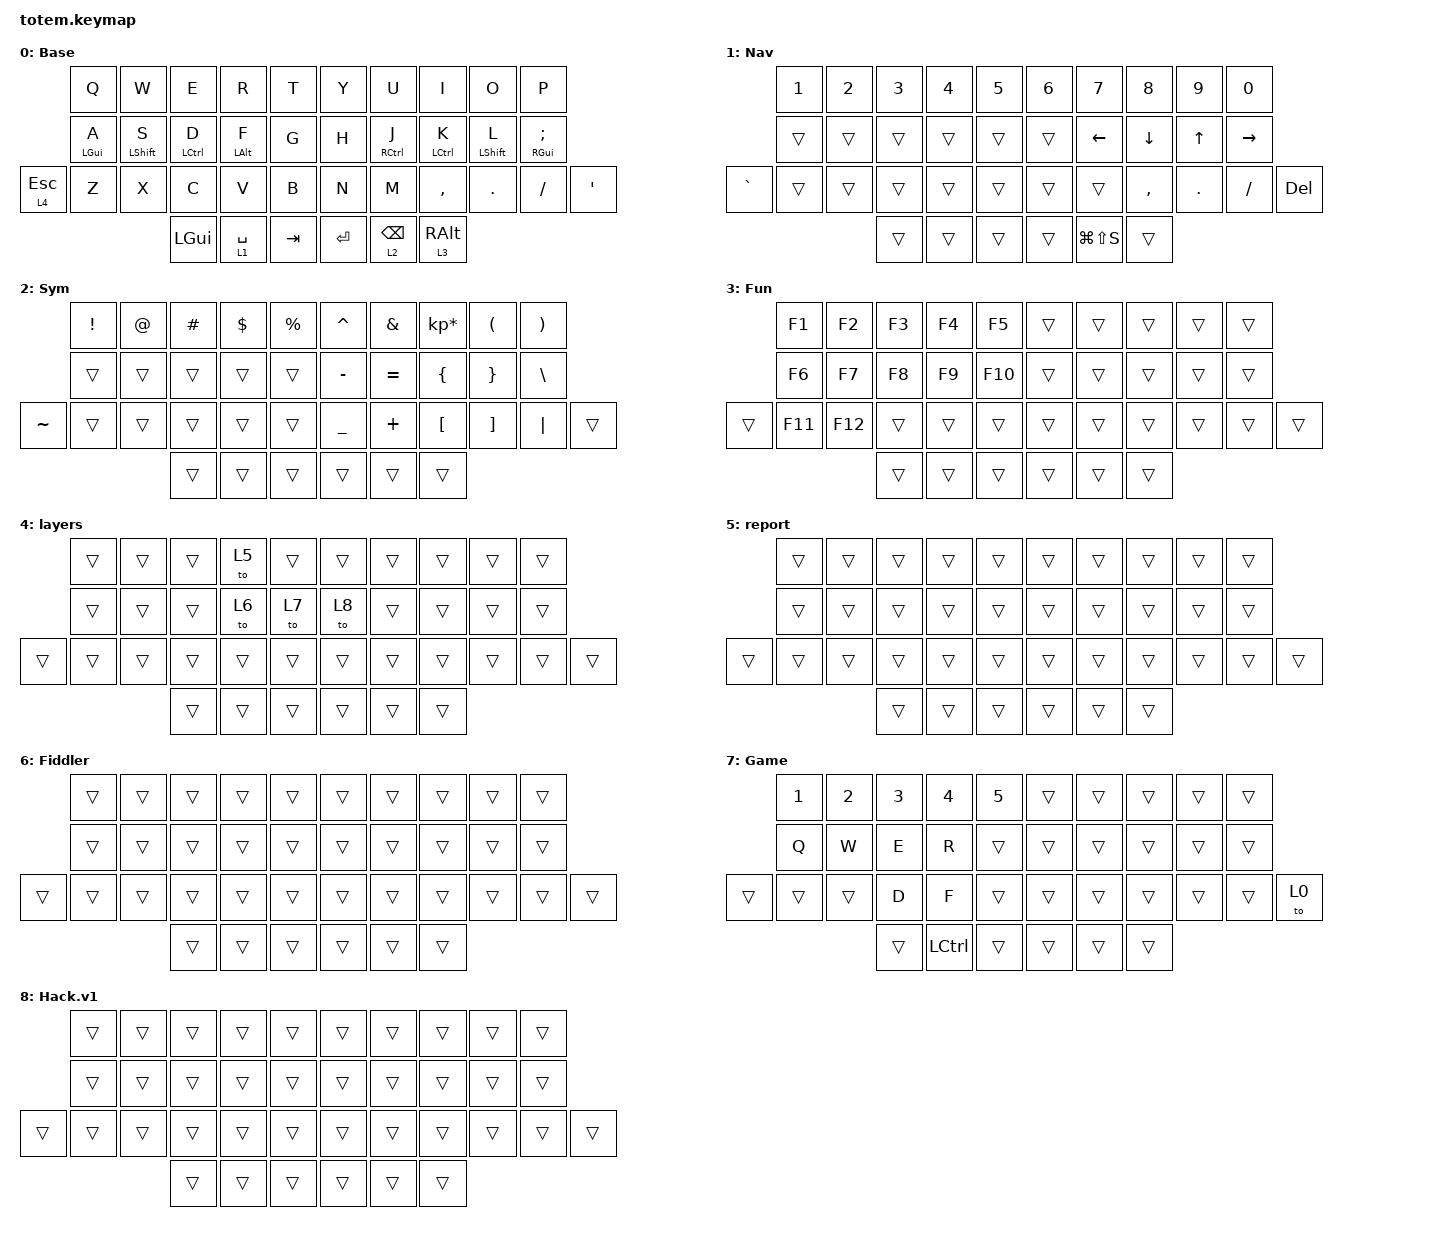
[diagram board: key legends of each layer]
//
//                                                        ▀▀▀▀▀     ▀▀▀▀▀          ▀▀█▀▀
//                                                        ▄▀▀▀▄  ▄  ▄▀▀▀▄  ▄  ▄▀▀▀▄  █  ▄▀▀▀▄
//                                                        █   █  █  █   █  █  █   █  █  █   █
//                                                         ▀▀▀   █   ▀▀▀   █   ▀▀▀   ▀   ▀▀▀
//                                                               █      ▄▄▄█▄▄▄    █   █  
//                                                               ▀      █  █  █     █▄█
//                                                             ▀▀▀▀▀    █  █  █      ▀
//                                                                      ▀  ▀  ▀
//
// ▄▄▄▄▄▄▄▄▄▄▄▄▄▄▄▄▄▄▄▄▄▄▄▄▄▄▄▄▄▄▄▄▄▄▄▄▄▄▄▄▄▄▄▄▄▄▄▄▄▄▄▄▄▄▄▄▄▄▄▄▄▄▄▄▄▄▄▄▄▄▄▄▄▄▄▄▄▄▄▄▄▄▄▄▄▄▄▄▄▄▄▄▄▄▄▄▄▄▄▄▄▄▄▄▄▄▄▄▄▄▄▄▄▄▄▄▄▄▄▄▄▄▄▄▄▄▄▄▄▄▄▄▄▄▄▄▄▄▄▄▄▄▄▄▄▄▄▄▄

#include <behaviors.dtsi>
#include <dt-bindings/zmk/keys.h>

#define Base        0
#define Nav         1
#define Sym         2
#define Fun         3
#define Game        4
#define Gameplus    5

&mt {
    quick-tap-ms = <100>;
    global-quick-tap;
    flavor = "tap-preferred";
    tapping-term-ms = <170>;
};

&lt {
    tapping-term-ms = <240>;
    flavor = "balanced";
    quick-tap-ms = <150>;
};

/ {
    behaviors {
        hm: homerow_mods {
            compatible = "zmk,behavior-hold-tap";
            label = "HOMEROW_MODS";
            #binding-cells = <2>;
            flavor = "tap-preferred";
            tapping-term-ms = <270>;
            quick-tap-ms = <150>;
            global-quick-tap;
            bindings = <&kp>, <&kp>;
        };

        hm_c: homerow_ctrl {
            compatible = "zmk,behavior-hold-tap";
            label = "HM_C";
            #binding-cells = <2>;
            flavor = "tap-preferred";
            tapping-term-ms = <165>;
            quick-tap-ms = <100>;
            bindings = <&kp>, <&kp>;
        };

        hm_s_l: homerow_shift_L {
            compatible = "zmk,behavior-hold-tap";
            label = "HM_S_L";
            #binding-cells = <2>;
            flavor = "tap-preferred";
            tapping-term-ms = <220>;
            quick-tap-ms = <150>;
            bindings = <&kp>, <&kp>;
        };

        hm_s_r: homerow_shift_r {
            compatible = "zmk,behavior-hold-tap";
            label = "HM_S_R";
            #binding-cells = <2>;
            flavor = "tap-preferred";
            tapping-term-ms = <140>;
            quick-tap-ms = <100>;
            bindings = <&kp>, <&kp>;
        };
    };

    combos {
        compatible = "zmk,combos";

        caps {
            bindings = <&kp CLCK>;
            key-positions = <7 8 9>;
            layers = <0>;
        };

        win_lock {
            bindings = <&kp LG(L)>;
            key-positions = <20 31>;
        };

        vwin_create {
            bindings = <&kp LG(LC(D))>;
            key-positions = <6 7 8>;
        };

        vwin_left {
            bindings = <&kp LG(LC(LEFT))>;
            key-positions = <17 16>;
        };

        vwin_right {
            bindings = <&kp LG(LC(RIGHT))>;
            key-positions = <17 18>;
        };

        vwin_del {
            bindings = <&kp LG(LC(F4))>;
            key-positions = <27 28 29>;
        };

        go_base {
            bindings = <&to 0>;
            key-positions = <11 12 13>;
        };
    };

    keymap {
        compatible = "zmk,keymap";

        Base {
            display-name = "Base";
            bindings = <
              &kp Q       &kp W            &kp E          &kp R           &kp T      &kp Y    &kp U        &kp I            &kp O            &kp P
              &hm LGUI A  &hm_s_l LSHFT S  &hm_c LCTRL D  &hm LEFT_ALT F  &kp G      &kp H    &hm RCTRL J  &hm_c LCTRL K    &hm_s_r LSHFT L  &hm RGUI SEMICOLON
&lt 4 ESCAPE  &kp Z       &kp X            &kp C          &kp V           &kp B      &kp N    &kp M        &kp COMMA        &kp DOT          &kp SLASH           &kp APOSTROPHE
                                           &kp LEFT_GUI   &lt 1 SPACE     &kp TAB    &kp RET  &lt 2 BSPC   &lt 3 RIGHT_ALT
            >;
        };

        Nav {
            display-name = "Nav";
            bindings = <
           &kp NUMBER_1  &kp NUMBER_2  &kp NUMBER_3  &kp NUMBER_4  &kp NUMBER_5    &kp NUMBER_6  &kp NUMBER_7   &kp NUMBER_8  &kp NUMBER_9  &kp NUMBER_0
           &trans        &trans        &trans        &trans        &trans          &trans        &kp LEFT       &kp DOWN      &kp UP        &kp RIGHT
&kp GRAVE  &trans        &trans        &trans        &trans        &trans          &trans        &trans         &kp COMMA     &kp DOT       &kp SLASH     &kp DELETE
                                       &trans        &trans        &trans          &trans        &kp LG(LS(S))  &trans
            >;
        };

        Sym {
            display-name = "Sym";
            bindings = <
           &kp EXCL  &kp AT  &kp HASH  &kp DOLLAR  &kp PERCENT    &kp CARET  &kp AMPERSAND  &kp KP_ASTERISK  &kp LPAR  &kp RPAR
           &trans    &trans  &trans    &trans      &trans         &kp MINUS  &kp EQUAL      &kp LBRC         &kp RBRC  &kp BSLH
&kp TILDE  &trans    &trans  &trans    &trans      &trans         &kp UNDER  &kp PLUS       &kp LBKT         &kp RBKT  &kp PIPE  &trans
                             &trans    &trans      &trans         &trans     &trans         &trans
            >;
        };

        Fun {
            display-name = "Fun";
            bindings = <
        &kp F1   &kp F2   &kp F3  &kp F4  &kp F5     &trans  &trans  &trans  &trans  &trans
        &kp F6   &kp F7   &kp F8  &kp F9  &kp F10    &trans  &trans  &trans  &trans  &trans
&trans  &kp F11  &kp F12  &trans  &trans  &trans     &trans  &trans  &trans  &trans  &trans  &trans
                          &trans  &trans  &trans     &trans  &trans  &trans
            >;
        };

        Layers {
            bindings = <
        &trans  &trans  &trans  &to 5   &trans    &trans  &trans  &trans  &trans  &trans
        &trans  &trans  &trans  &to 6   &to 7     &to 8   &trans  &trans  &trans  &trans
&trans  &trans  &trans  &trans  &trans  &trans    &trans  &trans  &trans  &trans  &trans  &trans
                        &trans  &trans  &trans    &trans  &trans  &trans
            >;

            label = "layers";
        };

        Report {
            bindings = <
        &trans  &trans  &trans  &trans  &trans    &trans  &trans  &trans  &trans  &trans
        &trans  &trans  &trans  &trans  &trans    &trans  &trans  &trans  &trans  &trans
&trans  &trans  &trans  &trans  &trans  &trans    &trans  &trans  &trans  &trans  &trans  &trans
                        &trans  &trans  &trans    &trans  &trans  &trans
            >;

            label = "report";
        };

        Fiddler {
            bindings = <
        &trans  &trans  &trans  &trans  &trans    &trans  &trans  &trans  &trans  &trans
        &trans  &trans  &trans  &trans  &trans    &trans  &trans  &trans  &trans  &trans
&trans  &trans  &trans  &trans  &trans  &trans    &trans  &trans  &trans  &trans  &trans  &trans
                        &trans  &trans  &trans    &trans  &trans  &trans
            >;

            label = "Fiddler";
        };

        Game {
            bindings = <
        &kp NUMBER_1  &kp NUMBER_2  &kp NUMBER_3  &kp NUMBER_4  &kp N5    &trans  &trans  &trans  &trans  &trans
        &kp Q         &kp W         &kp E         &kp R         &trans    &trans  &trans  &trans  &trans  &trans
&trans  &trans        &trans        &kp D         &kp F         &trans    &trans  &trans  &trans  &trans  &trans  &to 0
                                    &trans        &kp LCTRL     &trans    &trans  &trans  &trans
            >;

            label = "Game";
        };

        Hack.v1 {
            bindings = <
        &trans  &trans  &trans  &trans  &trans    &trans  &trans  &trans  &trans  &trans
        &trans  &trans  &trans  &trans  &trans    &trans  &trans  &trans  &trans  &trans
&trans  &trans  &trans  &trans  &trans  &trans    &trans  &trans  &trans  &trans  &trans  &trans
                        &trans  &trans  &trans    &trans  &trans  &trans
            >;

            label = "Hack.v1";
        };
    };
};
